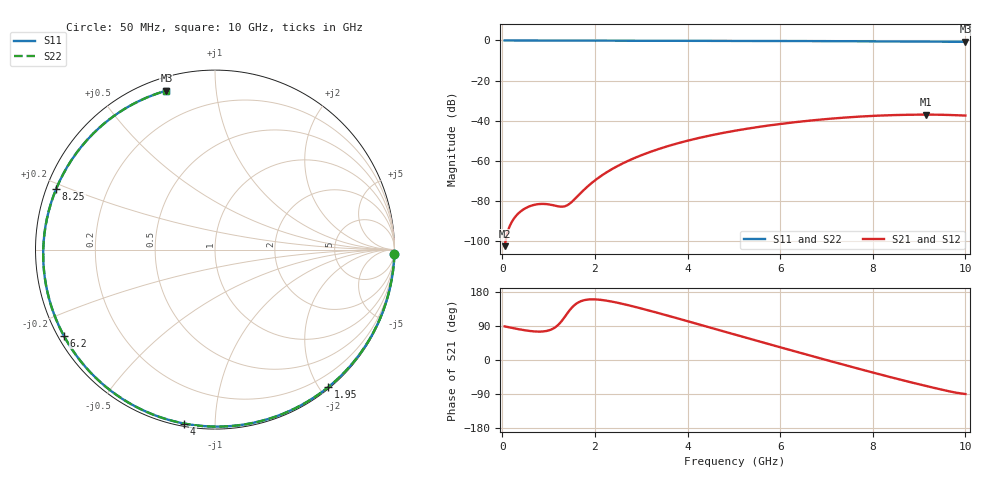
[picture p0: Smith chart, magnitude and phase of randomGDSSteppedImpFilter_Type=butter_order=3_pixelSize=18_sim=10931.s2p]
! freq	dB(S11)	phase(S11)	dB(S12)	phase(S12)
!  dB(S21)	phase(S21)	dB(S22)	phase(S22)
!S-par simulation data
#  GHz  S  DB  R 50
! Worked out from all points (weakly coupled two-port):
!   200 points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, 50 MHz to 10 GHz, reference 50 ohm
!   highest |S21| = -36.90 dB at 9.15 GHz (marker M1); lowest = -102.4 dB at 50 MHz (marker M2)
!   lowest |S11| = -0.7 dB at 10 GHz (marker M3), VSWR 25.99, Z = 2.97 + j36.9 ohm
!   |S11| at or under -10 dB: nowhere
!   |S22| runs from -0.7 to 0.0 dB; largest |S21 - S12| = 0
!   S11 on the Smith chart (normalised r, x): 50 MHz: 0, -86; 1.95 GHz: 0.02, -2.12; 4 GHz: 0.01, -0.84; 6.2 GHz: 0.02, -0.26; 8.25 GHz: 0.03, +0.19; 10 GHz: 0.06, +0.74
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0.05  -0.00 -1.3  -102.36 88.7  -102.36 88.7  -0.00 -1.3
0.75  -0.03 -19.8  -81.53 75.0  -81.53 75.0  -0.03 -19.8
1.5  -0.05 -39.2  -80.35 138.0  -80.35 138.0  -0.05 -39.2
1.75  -0.06 -45.5  -74.63 157.3  -74.63 157.3  -0.06 -45.5
1.95  -0.06 -50.6  -70.56 160.1  -70.56 160.1  -0.06 -50.6
2.25  -0.07 -58.1  -65.65 156.6  -65.65 156.6  -0.07 -58.1
2.6  -0.09 -66.7  -61.19 148.0  -61.19 148.0  -0.09 -66.7
3  -0.10 -76.4  -57.14 136.0  -57.14 136.0  -0.10 -76.4
3.4  -0.11 -85.9  -53.85 122.9  -53.85 122.9  -0.11 -85.9
4  -0.14 -100.0  -49.89 102.5  -49.89 102.5  -0.14 -99.9
4.5  -0.16 -111.5  -47.23 85.2  -47.23 85.2  -0.16 -111.5
5.05  -0.19 -124.1  -44.82 66.2  -44.82 66.2  -0.19 -124.0
5.65  -0.23 -137.7  -42.65 45.5  -42.65 45.5  -0.23 -137.7
6.2  -0.27 -150.4  -41.00 26.8  -41.00 26.8  -0.27 -150.4
6.7  -0.31 -162.1  -39.75 9.9  -39.75 9.9  -0.31 -162.1
7.5  -0.39 178.4  -38.20 -16.7  -38.20 -16.7  -0.39 178.4
8.25  -0.47 159.0  -37.29 -41.1  -37.29 -41.1  -0.47 159.0
8.35  -0.48 156.3  -37.21 -44.2  -37.21 -44.2  -0.48 156.3
8.75  -0.53 145.1  -36.98 -56.6  -36.98 -56.6  -0.53 145.1
9.15  -0.57 133.5  -36.90 -68.5  -36.90 -68.5  -0.57 133.5
9.6  -0.63 119.8  -37.04 -81.3  -37.04 -81.3  -0.63 119.8
10  -0.67 107.0  -37.37 -89.8  -37.37 -89.8  -0.67 107.0
